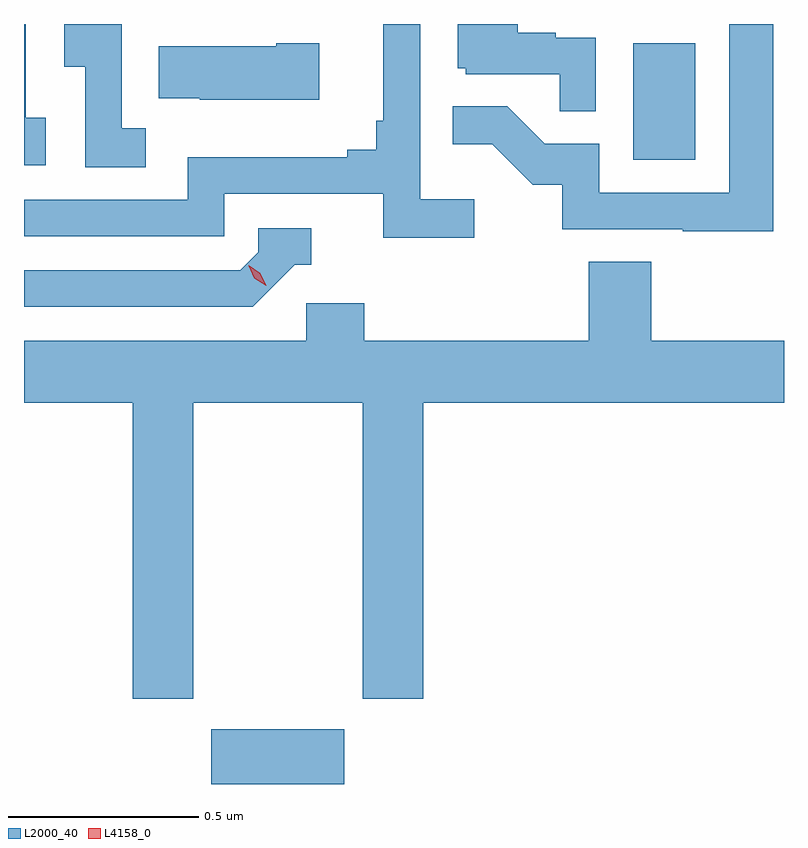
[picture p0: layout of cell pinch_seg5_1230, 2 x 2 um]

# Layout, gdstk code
import gdstk
lib = gdstk.Library(unit=1e-6, precision=1e-09)
def R(c, l, rs):  # rectangles x0, y0, x1, y1
    for r in rs: c.add(gdstk.rectangle(r[:2], r[2:], *l))
def P(c, l, *ps):  # polygons
    for p in ps: c.add(gdstk.Polygon(p, *l))
L2000_40 = (2000, 40)
L4158_0 = (4158, 0)

pinch_seg5_1230 = lib.new_cell('pinch_seg5_1230')
R(pinch_seg5_1230, L2000_40, [(856.448,849.097,856.798,849.241), (857.558,850.74,857.722,851.047)])
P(pinch_seg5_1230, L2000_40, [(857.14,850.636),(856.998,850.636),(856.998,851.097),(856.901,851.097),(856.901,850.843),(856.882,850.843),(856.882,850.766),(856.805,850.766),(856.805,850.747),(856.386,850.747),(856.386,850.635),(855.955,850.635),(855.955,850.539),(856.482,850.539),(856.482,850.65),(856.901,850.65),(856.901,850.534),(857.14,850.534)],
  [(857.927,851.097),(857.811,851.097),(857.811,850.653),(857.469,850.653),(857.469,850.782),(857.325,850.782),(857.227,850.88),(857.083,850.88),(857.083,850.781),(857.187,850.781),(857.294,850.674),(857.371,850.674),(857.371,850.557),(857.689,850.557),(857.689,850.552),(857.927,850.552)],
  [(857.46,851.061),(857.354,851.061),(857.354,851.074),(857.254,851.074),(857.254,851.097),(857.096,851.097),(857.096,850.98),(857.118,850.98),(857.118,850.965),(857.365,850.965),(857.365,850.867),(857.46,850.867)],
  [(856.276,850.823),(856.212,850.823),(856.212,851.097),(856.061,851.097),(856.061,850.984),(856.116,850.984),(856.116,850.72),(856.276,850.72)],
  [(856.012,850.85),(855.96,850.85),(855.96,851.097),(855.955,851.097),(855.955,850.725),(856.012,850.725)],
  [(856.732,851.046),(856.619,851.046),(856.619,851.038),(856.309,851.038),(856.309,850.901),(856.417,850.901),(856.417,850.898),(856.732,850.898)],
  [(856.668,850.464),(856.711,850.464),(856.711,850.56),(856.572,850.56),(856.572,850.497),(856.524,850.449),(855.955,850.449),(855.955,850.353),(856.557,850.353)],
  [(856.401,850.1),(856.846,850.1),(856.846,849.321),(857.006,849.321),(857.006,850.1),(857.955,850.1),(857.955,850.264),(857.606,850.264),(857.606,850.472),(857.441,850.472),(857.441,850.264),(856.85,850.264),(856.85,850.362),(856.698,850.362),(856.698,850.264),(855.955,850.264),(855.955,850.1),(856.241,850.1),(856.241,849.321),(856.401,849.321)])
P(pinch_seg5_1230, L4158_0, [(856.592,850.408),(856.561,850.428),(856.546,850.461),(856.546,850.462),(856.546,850.462),(856.577,850.441),(856.592,850.408),(856.592,850.408)])

lib.write_gds('pinch_seg5_1230.gds')
